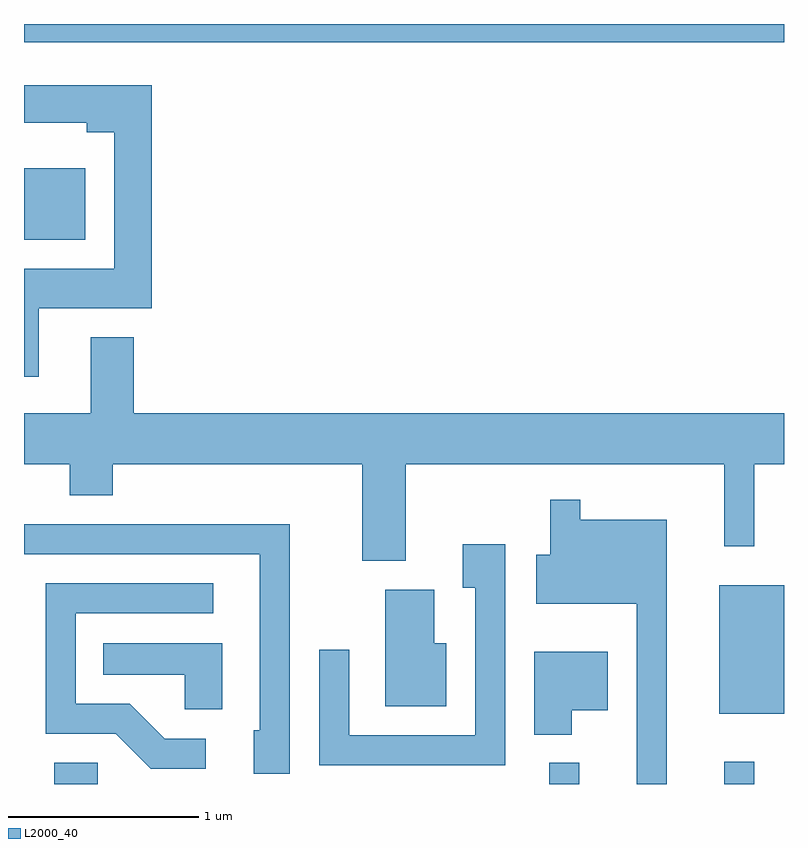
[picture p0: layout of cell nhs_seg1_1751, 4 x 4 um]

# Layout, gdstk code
import gdstk
lib = gdstk.Library(unit=1e-6, precision=1e-09)
def R(c, l, rs):  # rectangles x0, y0, x1, y1
    for r in rs: c.add(gdstk.rectangle(r[:2], r[2:], *l))
def P(c, l, *ps):  # polygons
    for p in ps: c.add(gdstk.Polygon(p, *l))
L2000_40 = (2000, 40)

nhs_seg1_1751 = lib.new_cell('nhs_seg1_1751')
R(nhs_seg1_1751, L2000_40, [(239.771,855.712,239.999,855.824), (242.376,855.712,242.534,855.823), (243.296,855.712,243.454,855.828), (243.271,856.081,243.611,856.759), (239.611,858.576,239.934,858.954), (239.611,859.616,243.611,859.712)])
P(nhs_seg1_1751, L2000_40, [(239.689,858.216),(240.284,858.216),(240.284,859.389),(239.611,859.389),(239.611,859.191),(239.941,859.191),(239.941,859.141),(240.086,859.141),(240.086,858.424),(239.611,858.424),(239.611,857.856),(239.689,857.856)],
  [(241.619,857.396),(243.296,857.396),(243.296,856.963),(243.454,856.963),(243.454,857.396),(243.611,857.396),(243.611,857.664),(240.189,857.664),(240.189,858.064),(239.961,858.064),(239.961,857.664),(239.611,857.664),(239.611,857.396),(239.851,857.396),(239.851,857.231),(240.079,857.231),(240.079,857.396),(241.391,857.396),(241.391,856.886),(241.619,856.886)],
  [(242.994,857.104),(242.539,857.104),(242.539,857.208),(242.381,857.208),(242.381,856.919),(242.306,856.919),(242.306,856.661),(242.836,856.661),(242.836,855.712),(242.994,855.712)],
  [(241.009,857.079),(239.611,857.079),(239.611,856.921),(240.851,856.921),(240.851,855.994),(240.821,855.994),(240.821,855.766),(241.009,855.766)],
  [(242.144,856.974),(241.921,856.974),(241.921,856.746),(241.986,856.746),(241.986,855.969),(241.324,855.969),(241.324,856.418),(241.166,856.418),(241.166,855.811),(242.144,855.811)],
  [(240.568,855.949),(240.352,855.949),(240.167,856.134),(239.884,856.134),(239.884,856.611),(240.608,856.611),(240.608,856.769),(239.726,856.769),(239.726,855.976),(240.094,855.976),(240.279,855.791),(240.568,855.791)],
  [(241.834,856.454),(241.769,856.454),(241.769,856.734),(241.511,856.734),(241.511,856.121),(241.834,856.121)],
  [(240.654,856.454),(240.028,856.454),(240.028,856.286),(240.456,856.286),(240.456,856.106),(240.654,856.106)],
  [(242.494,856.101),(242.684,856.101),(242.684,856.409),(242.296,856.409),(242.296,855.971),(242.494,855.971)])

lib.write_gds('nhs_seg1_1751.gds')
